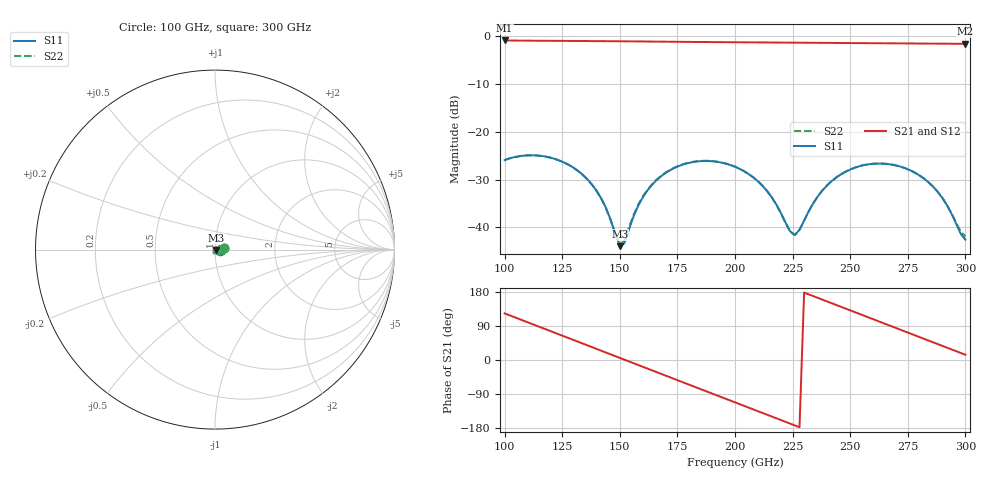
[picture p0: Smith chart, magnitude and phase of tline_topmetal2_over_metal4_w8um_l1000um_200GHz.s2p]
#  GHZ S DB R 50
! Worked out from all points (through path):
!   101 points, 100 GHz to 300 GHz, reference 50 ohm
!   highest |S21| = -0.85 dB at 100 GHz (marker M1); lowest = -1.6 dB at 300 GHz (marker M2)
!   group delay of S21, straight-line fit = 6.52 ps
!   lowest |S11| = -44.0 dB at 150 GHz (marker M3), VSWR 1.01, Z = 50.6 - j0.263 ohm
!   |S11| at or under -10 dB: start of sweep to end of sweep
!   |S22| runs from -43.6 to -24.9 dB; largest |S21 - S12| = 1.5e-13
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100  -25.93 10.9  -0.85 123.0  -0.85 123.0  -25.92 10.5
108  -25.01 -5.1  -0.88 104.2  -0.88 104.2  -25.01 -5.4
116  -25.06 -21.2  -0.91 85.5  -0.91 85.5  -25.06 -21.4
124  -26.05 -37.1  -0.93 66.7  -0.93 66.7  -26.07 -37.3
134  -29.04 -55.6  -0.96 43.2  -0.96 43.2  -29.08 -55.5
142  -34.00 -65.1  -0.99 24.4  -0.99 24.4  -34.07 -64.3
150  -43.97 -24.3  -1.02 5.5  -1.02 5.5  -43.61 -21.2
152  -43.36 10.3  -1.03 0.8  -1.03 0.8  -42.79 11.2
160  -33.72 40.3  -1.06 -18.0  -1.06 -18.0  -33.54 39.3
168  -29.29 30.2  -1.09 -36.8  -1.09 -36.8  -29.19 29.3
184  -26.19 0.1  -1.16 -74.3  -1.16 -74.3  -26.14 -0.6
192  -26.28 -15.5  -1.19 -93.0  -1.19 -93.0  -26.23 -16.2
200  -27.33 -30.5  -1.22 -111.8  -1.22 -111.8  -27.30 -31.1
212  -31.35 -48.7  -1.26 -139.9  -1.26 -139.9  -31.35 -49.3
226  -41.59 -3.0  -1.31 -172.7  -1.31 -172.7  -41.65 -2.8
234  -34.96 39.0  -1.34 168.5  -1.34 168.5  -34.92 39.0
248  -28.37 24.4  -1.38 135.7  -1.38 135.7  -28.34 24.3
258  -26.81 5.8  -1.42 112.3  -1.42 112.3  -26.79 5.8
268  -26.87 -13.6  -1.45 88.8  -1.45 88.8  -26.86 -13.5
276  -28.06 -28.7  -1.48 70.1  -1.48 70.1  -28.06 -28.3
286  -31.51 -44.5  -1.51 46.7  -1.51 46.7  -31.50 -43.4
300  -42.61 -3.6  -1.55 13.8  -1.55 13.8  -41.91 -1.6
